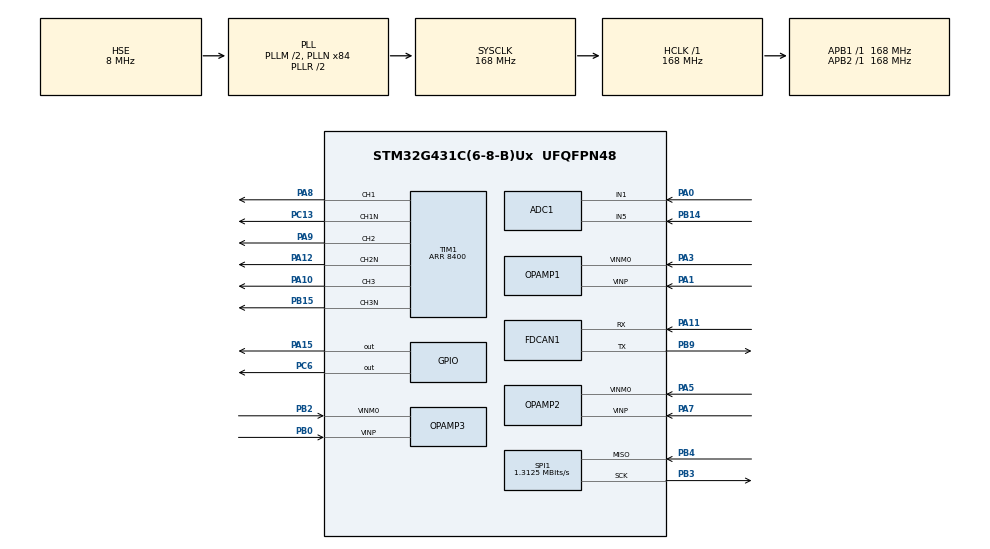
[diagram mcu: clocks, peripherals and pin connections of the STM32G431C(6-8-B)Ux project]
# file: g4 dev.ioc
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ADC1.Channel-1\#ChannelRegularConversion=ADC_CHANNEL_1
ADC1.DMAContinuousRequests=DISABLE
ADC1.EOCSelection=ADC_EOC_SEQ_CONV
ADC1.NbrOfConversion=1
ADC1.NbrOfConversionFlag=1
ADC1.OffsetNumber-1\#ChannelRegularConversion=ADC_OFFSET_NONE
ADC1.Overrun=ADC_OVR_DATA_OVERWRITTEN
ADC1.Rank-1\#ChannelRegularConversion=1
ADC1.SamplingTime-1\#ChannelRegularConversion=ADC_SAMPLETIME_2CYCLES_5
ADC1.master=1
ADC2.Channel-0\#ChannelRegularConversion=ADC_CHANNEL_VOPAMP2
ADC2.Channel-1\#ChannelRegularConversion=ADC_CHANNEL_VOPAMP3_ADC2
ADC2.NbrOfConversion=2
ADC2.NbrOfConversionFlag=1
ADC2.OffsetNumber-0\#ChannelRegularConversion=ADC_OFFSET_NONE
ADC2.OffsetNumber-1\#ChannelRegularConversion=ADC_OFFSET_NONE
ADC2.Overrun=ADC_OVR_DATA_OVERWRITTEN
ADC2.Rank-0\#ChannelRegularConversion=1
ADC2.Rank-1\#ChannelRegularConversion=2
ADC2.SamplingTime-0\#ChannelRegularConversion=ADC_SAMPLETIME_2CYCLES_5
ADC2.SamplingTime-1\#ChannelRegularConversion=ADC_SAMPLETIME_2CYCLES_5
Dma.ADC1.0.Direction=DMA_PERIPH_TO_MEMORY
Dma.ADC1.0.EventEnable=DISABLE
Dma.ADC1.0.Instance=DMA1_Channel1
Dma.ADC1.0.MemDataAlignment=DMA_MDATAALIGN_HALFWORD
Dma.ADC1.0.MemInc=DMA_MINC_ENABLE
Dma.ADC1.0.Mode=DMA_CIRCULAR
Dma.ADC1.0.PeriphDataAlignment=DMA_PDATAALIGN_HALFWORD
Dma.ADC1.0.PeriphInc=DMA_PINC_DISABLE
Dma.ADC1.0.Polarity=HAL_DMAMUX_REQ_GEN_RISING
Dma.ADC1.0.Priority=DMA_PRIORITY_LOW
Dma.ADC1.0.RequestNumber=1
Dma.ADC1.0.SignalID=NONE
Dma.ADC1.0.SyncEnable=DISABLE
Dma.ADC1.0.SyncPolarity=HAL_DMAMUX_SYNC_NO_EVENT
Dma.ADC1.0.SyncRequestNumber=1
Dma.ADC1.0.SyncSignalID=NONE
Dma.ADC2.1.Direction=DMA_PERIPH_TO_MEMORY
Dma.ADC2.1.EventEnable=DISABLE
Dma.ADC2.1.Instance=DMA1_Channel2
Dma.ADC2.1.MemDataAlignment=DMA_MDATAALIGN_HALFWORD
Dma.ADC2.1.MemInc=DMA_MINC_ENABLE
Dma.ADC2.1.Mode=DMA_NORMAL
Dma.ADC2.1.PeriphDataAlignment=DMA_PDATAALIGN_HALFWORD
Dma.ADC2.1.PeriphInc=DMA_PINC_DISABLE
Dma.ADC2.1.Polarity=HAL_DMAMUX_REQ_GEN_RISING
Dma.ADC2.1.Priority=DMA_PRIORITY_LOW
Dma.ADC2.1.RequestNumber=1
Dma.ADC2.1.SignalID=NONE
Dma.ADC2.1.SyncEnable=DISABLE
Dma.ADC2.1.SyncPolarity=HAL_DMAMUX_SYNC_NO_EVENT
Dma.ADC2.1.SyncRequestNumber=1
Dma.ADC2.1.SyncSignalID=NONE
Dma.Request0=ADC1
Dma.Request1=ADC2
FDCAN1.CalculateBaudRateNominal=1000000
FDCAN1.CalculateTimeBitNominal=1000
FDCAN1.CalculateTimeQuantumNominal=71.42857142857143
FDCAN1.NominalPrescaler=12
FDCAN1.NominalTimeSeg1=10
FDCAN1.NominalTimeSeg2=3
Mcu.Family=STM32G4
Mcu.Name=STM32G431C(6-8-B)Ux
Mcu.Package=UFQFPN48
NVIC.DMA1_Channel1_IRQn=true\:0\:0\:false\:false\:true\:false\:true\:true
NVIC.DMA1_Channel2_IRQn=true\:0\:0\:false\:false\:true\:false\:true\:true
NVIC.PriorityGroup=NVIC_PRIORITYGROUP_4
NVIC.TIM1_UP_TIM16_IRQn=true\:0\:0\:false\:false\:true\:true\:true\:true
OPAMP1.PgaGain=OPAMP_PGA_GAIN_16_OR_MINUS_15
OPAMP1.PowerMode=OPAMP_POWERMODE_HIGHSPEED
OPAMP2.PgaGain=OPAMP_PGA_GAIN_16_OR_MINUS_15
OPAMP2.PowerMode=OPAMP_POWERMODE_HIGHSPEED
OPAMP3.PgaGain=OPAMP_PGA_GAIN_16_OR_MINUS_15
OPAMP3.PowerMode=OPAMP_POWERMODE_HIGHSPEED
PA0.Mode=IN1-Single-Ended
PA0.Signal=ADC1_IN1
PA1.Mode=PGA Internally connected_IO0_BIAS
PA1.Signal=OPAMP1_VINP
PA10.Signal=S_TIM1_CH3
PA11.Mode=FDCAN_Activate
PA11.Signal=FDCAN1_RX
PA12.Mode=PWM Generation2 CH2 CH2N
PA12.Signal=TIM1_CH2N
PA15.Signal=GPIO_Output
PA3.Mode=PGA Internally connected_IO0_BIAS
PA3.Signal=OPAMP1_VINM0
PA5.Mode=PGA Internally connected_IO0_BIAS
PA5.Signal=OPAMP2_VINM0
PA7.Mode=PGA Internally connected_IO0_BIAS
PA7.Signal=OPAMP2_VINP
PA8.Signal=S_TIM1_CH1
PA9.Signal=S_TIM1_CH2
PB0.Mode=PGA Internally connected_IO0_BIAS
PB0.Signal=OPAMP3_VINP
PB14.Mode=IN5-Single-Ended
PB14.Signal=ADC1_IN5
PB15.Mode=PWM Generation3 CH3 CH3N
PB15.Signal=TIM1_CH3N
PB2.Mode=PGA Internally connected_IO0_BIAS
PB2.Signal=OPAMP3_VINM0
PB3.Mode=RX_Only_Simplex_Unidirect_Master
PB3.Signal=SPI1_SCK
PB4.Mode=RX_Only_Simplex_Unidirect_Master
PB4.Signal=SPI1_MISO
PB9.Mode=FDCAN_Activate
PB9.Signal=FDCAN1_TX
PC13.Mode=PWM Generation1 CH1 CH1N
PC13.Signal=TIM1_CH1N
PC6.Signal=GPIO_Output
PF0-OSC_IN.Mode=HSE-External-Oscillator
PF0-OSC_IN.Signal=RCC_OSC_IN
PF1-OSC_OUT.Mode=HSE-External-Oscillator
PF1-OSC_OUT.Signal=RCC_OSC_OUT
ProjectManager.HeapSize=0x200
ProjectManager.StackSize=0x400
ProjectManager.TargetToolchain=STM32CubeIDE
RCC.ADC12Freq_Value=168000000
RCC.AHBFreq_Value=168000000
RCC.APB1Freq_Value=168000000
RCC.APB1TimFreq_Value=168000000
RCC.APB2Freq_Value=168000000
RCC.APB2TimFreq_Value=168000000
RCC.CortexFreq_Value=168000000
RCC.EXTERNAL_CLOCK_VALUE=12288000
RCC.HCLKFreq_Value=168000000
RCC.HSE_VALUE=8000000
RCC.HSI48_VALUE=48000000
RCC.HSI_VALUE=16000000
RCC.LSE_VALUE=32768
RCC.PLLM=RCC_PLLM_DIV2
RCC.PLLN=84
RCC.PLLSourceVirtual=RCC_PLLSOURCE_HSE
RCC.SYSCLKFreq_VALUE=168000000
RCC.SYSCLKSource=RCC_SYSCLKSOURCE_PLLCLK
RCC.USBFreq_Value=168000000
RCC.VCOOutputFreq_Value=336000000
SH.S_TIM1_CH1.0=TIM1_CH1,PWM Generation1 CH1 CH1N
SH.S_TIM1_CH2.0=TIM1_CH2,PWM Generation2 CH2 CH2N
SH.S_TIM1_CH3.0=TIM1_CH3,PWM Generation3 CH3 CH3N
SPI1.BaudRatePrescaler=SPI_BAUDRATEPRESCALER_128
SPI1.CLKPhase=SPI_PHASE_1EDGE
SPI1.CLKPolarity=SPI_POLARITY_HIGH
SPI1.CalculateBaudRate=1.3125 MBits/s
SPI1.DataSize=SPI_DATASIZE_16BIT
SPI1.Direction=SPI_DIRECTION_2LINES_RXONLY
SPI1.Mode=SPI_MODE_MASTER
SPI1.VirtualType=VM_MASTER
TIM1.AutoReloadPreload=TIM_AUTORELOAD_PRELOAD_ENABLE
TIM1.Channel-PWM\ Generation1\ CH1\ CH1N=TIM_CHANNEL_1
TIM1.Channel-PWM\ Generation2\ CH2\ CH2N=TIM_CHANNEL_2
TIM1.Channel-PWM\ Generation3\ CH3\ CH3N=TIM_CHANNEL_3
TIM1.CounterMode=TIM_COUNTERMODE_CENTERALIGNED1
TIM1.DeadTime=100
TIM1.OCNPolarity_1=TIM_OCNPOLARITY_HIGH
TIM1.PeriodNoDither=8400
TIM1.RepetitionCounter=1
TIM2.PeriodNoDither=10000
TIM2.Prescaler=16800-1
VP_ADC1_OPAMP_INTERNAL1.Mode=IN-OPAMP1
VP_ADC2_OPAMP_INTERNAL2.Mode=IN-OPAMP2
VP_ADC2_OPAMP_INTERNAL3.Mode=IN-OPAMP3
VP_TIM1_VS_ClockSourceINT.Mode=Internal
VP_TIM2_VS_ClockSourceINT.Mode=Internal
board=custom

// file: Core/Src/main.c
/* USER CODE BEGIN Header */
/**
  ******************************************************************************
  * @file           : main.c
  * @brief          : Main program body
  ******************************************************************************
  * @attention
  *
  * Copyright (c) 2024 STMicroelectronics.
  * All rights reserved.
  *
  * This software is licensed under terms that can be found in the LICENSE file
  * in the root directory of this software component.
  * If no LICENSE file comes with this software, it is provided AS-IS.
  *
  ******************************************************************************
  */
/* USER CODE END Header */
#include "main.h"
#include "adc.h"
#include "dma.h"
#include "fdcan.h"
#include "opamp.h"
#include "spi.h"
#include "tim.h"
#include "gpio.h"

/* USER CODE BEGIN Includes */
#include "math.h"
#include "analog_sample.h"
#include "hw_config.h"
#include "structs.h"
#include "maths.h"

/* USER CODE END Includes */

/* USER CODE BEGIN PV */
Encoderstruct AMT_struct;
CANTxMessage can_tx;
CANRxMessage can_rx;
ControllerStruct controller;

float vd, vq, theta;

//int raw;	//ADC

/* USER CODE END PV */

void SystemClock_Config(void);

int main(void)
{

  /* MCU Configuration--------------------------------------------------------*/

  /* Reset of all peripherals, Initializes the Flash interface and the Systick. */
  HAL_Init();

  /* Configure the system clock */
  SystemClock_Config();

  /* USER CODE BEGIN SysInit */
  can_rx_init(&can_rx);
  can_tx_init(&can_tx);
  /* USER CODE END SysInit */

  /* Initialize all configured peripherals */
  MX_GPIO_Init();
  MX_DMA_Init();
  MX_ADC1_Init();
  MX_TIM1_Init();
  MX_TIM2_Init();
  MX_SPI1_Init();
  MX_FDCAN1_Init();
  MX_ADC2_Init();
  MX_OPAMP1_Init();
  MX_OPAMP2_Init();
  MX_OPAMP3_Init();
  /* USER CODE BEGIN 2 */

  HAL_FDCAN_Start(&hfdcan1); //start CAN

  HAL_GPIO_WritePin(GPIOC, GPIO_PIN_6, 1); //status

  HAL_TIM_Base_Start_IT(&htim1);
  HAL_TIM_Base_Start(&htim2);
  HAL_TIM_PWM_Start(&htim1, TIM_CHANNEL_1);
  HAL_TIM_PWM_Start(&htim1, TIM_CHANNEL_2);
  HAL_TIM_PWM_Start(&htim1, TIM_CHANNEL_3);
  HAL_TIMEx_PWMN_Start(&htim1, TIM_CHANNEL_1);
  HAL_TIMEx_PWMN_Start(&htim1, TIM_CHANNEL_2);
  HAL_TIMEx_PWMN_Start(&htim1, TIM_CHANNEL_3);

 // __HAL_TIM_SET_COMPARE(&htim1,TIM_CHANNEL_1,8000);
 // __HAL_TIM_SET_COMPARE(&htim1,TIM_CHANNEL_2, 100);
 // __HAL_TIM_SET_COMPARE(&htim1,TIM_CHANNEL_3,100);

  HAL_GPIO_WritePin(AMT_CS, 1);	//encoder chip select high

  /* USER CODE END 2 */

  /* Infinite loop */
  /* USER CODE BEGIN WHILE */
  while (1)
  {
	 //HAL_ADC_Start(&hadc1);
	 //HAL_ADC_PollForConversion(&hadc1, HAL_MAX_DELAY);
	 //raw = HAL_ADC_GetValue(&hadc1);
	 //HAL_Delay(100);
	 //ps_amt_sample(&AMT_struct);
	 //HAL_Delay(100);

	  controller.v_q = -0.9f;
	  //controller.v_d = 0.0f;
	  //HAL_Delay(200);
	  controller.v_d = 0.0f;
	  HAL_Delay(1000);
	  controller.v_q = 0.9f;
	  HAL_Delay(1000);
    /* USER CODE END WHILE */

  }
}

void SystemClock_Config(void)
{
  RCC_OscInitTypeDef RCC_OscInitStruct = {0};
  RCC_ClkInitTypeDef RCC_ClkInitStruct = {0};

  /** Configure the main internal regulator output voltage
  */
  HAL_PWREx_ControlVoltageScaling(PWR_REGULATOR_VOLTAGE_SCALE1_BOOST);

  /** Initializes the RCC Oscillators according to the specified parameters
  * in the RCC_OscInitTypeDef structure.
  */
  RCC_OscInitStruct.OscillatorType = RCC_OSCILLATORTYPE_HSE;
  RCC_OscInitStruct.HSEState = RCC_HSE_ON;
  RCC_OscInitStruct.PLL.PLLState = RCC_PLL_ON;
  RCC_OscInitStruct.PLL.PLLSource = RCC_PLLSOURCE_HSE;
  RCC_OscInitStruct.PLL.PLLM = RCC_PLLM_DIV2;
  RCC_OscInitStruct.PLL.PLLN = 84;
  RCC_OscInitStruct.PLL.PLLP = RCC_PLLP_DIV2;
  RCC_OscInitStruct.PLL.PLLQ = RCC_PLLQ_DIV2;
  RCC_OscInitStruct.PLL.PLLR = RCC_PLLR_DIV2;
  if (HAL_RCC_OscConfig(&RCC_OscInitStruct) != HAL_OK)
  {
    Error_Handler();
  }

  /** Initializes the CPU, AHB and APB buses clocks
  */
  RCC_ClkInitStruct.ClockType = RCC_CLOCKTYPE_HCLK|RCC_CLOCKTYPE_SYSCLK
                              |RCC_CLOCKTYPE_PCLK1|RCC_CLOCKTYPE_PCLK2;
  RCC_ClkInitStruct.SYSCLKSource = RCC_SYSCLKSOURCE_PLLCLK;
  RCC_ClkInitStruct.AHBCLKDivider = RCC_SYSCLK_DIV1;
  RCC_ClkInitStruct.APB1CLKDivider = RCC_HCLK_DIV1;
  RCC_ClkInitStruct.APB2CLKDivider = RCC_HCLK_DIV1;

  if (HAL_RCC_ClockConfig(&RCC_ClkInitStruct, FLASH_LATENCY_4) != HAL_OK)
  {
    Error_Handler();
  }
}

void Error_Handler(void)
{
  __disable_irq();
  while (1)
  {
  }
}
